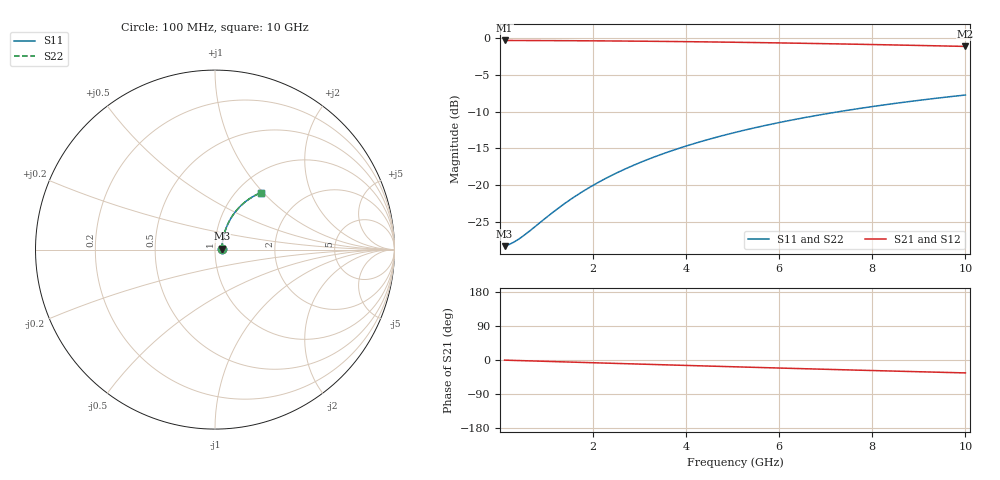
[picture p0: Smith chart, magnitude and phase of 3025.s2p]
# Hz S RI R 50.00
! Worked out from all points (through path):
!   100 points, 100 MHz to 10 GHz, reference 50 ohm
!   highest |S21| = -0.34 dB at 100 MHz (marker M1); lowest = -1.2 dB at 10 GHz (marker M2)
!   group delay of S21, straight-line fit = 9.49 ps
!   lowest |S11| = -28.3 dB at 100 MHz (marker M3), VSWR 1.08, Z = 54 + j0.473 ohm
!   |S11| at or under -10 dB: start of sweep to 7.289 GHz
!   |S22| runs from -28.3 to -7.7 dB; largest |S21 - S12| = 0
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1e8  0.0384 0.00437  0.9616 -0.00608  0.9616 -0.00608  0.0384 0.00437
2e8  0.0387 0.00874  0.9613 -0.0122  0.9613 -0.0122  0.0387 0.00874
3e8  0.039 0.0131  0.9609 -0.0182  0.9609 -0.0182  0.039 0.0131
4e8  0.0394 0.0175  0.9606 -0.0243  0.9606 -0.0243  0.0394 0.0175
6e8  0.0402 0.0262  0.9598 -0.0364  0.9598 -0.0364  0.0402 0.0262
1e9  0.0423 0.0435  0.9576 -0.0605  0.9576 -0.0605  0.0423 0.0435
1.3e9  0.0444 0.0564  0.9554 -0.0785  0.9554 -0.0785  0.0444 0.0564
1.5e9  0.046 0.0649  0.9536 -0.0905  0.9536 -0.0905  0.046 0.0649
1.8e9  0.0489 0.0776  0.9506 -0.1083  0.9506 -0.1083  0.0489 0.0776
2.1e9  0.0522 0.0901  0.9472 -0.126  0.9472 -0.126  0.0522 0.0901
2.5e9  0.0573 0.1066  0.9418 -0.1493  0.9418 -0.1493  0.0573 0.1066
2.9e9  0.0631 0.1227  0.9356 -0.1723  0.9356 -0.1723  0.0631 0.1227
3.4e9  0.0716 0.1424  0.9267 -0.2004  0.9267 -0.2004  0.0716 0.1424
3.8e9  0.0791 0.1576  0.9187 -0.2225  0.9187 -0.2225  0.0791 0.1576
4.2e9  0.0873 0.1723  0.91 -0.2441  0.91 -0.2441  0.0873 0.1723
4.6e9  0.0962 0.1865  0.9006 -0.2652  0.9006 -0.2652  0.0962 0.1865
5.1e9  0.1081 0.2035  0.8879 -0.2908  0.8879 -0.2908  0.1081 0.2035
5.9e9  0.1291 0.2289  0.8657 -0.3299  0.8657 -0.3299  0.1291 0.2289
6.7e9  0.1519 0.2517  0.8413 -0.3666  0.8413 -0.3666  0.1519 0.2517
7.5e9  0.1763 0.2719  0.8152 -0.4007  0.8152 -0.4007  0.1763 0.2719
8.4e9  0.2051 0.2915  0.7841 -0.436  0.7841 -0.436  0.2051 0.2915
1e10  0.2589 0.318  0.7257 -0.4906  0.7257 -0.4906  0.2589 0.318
